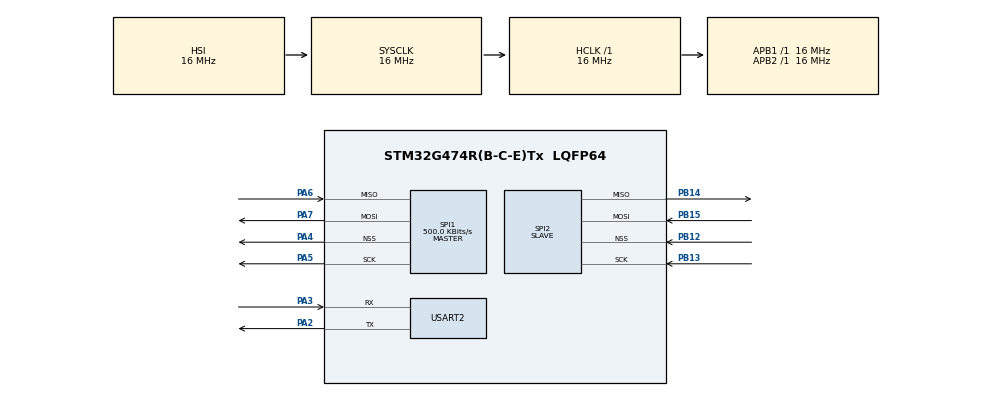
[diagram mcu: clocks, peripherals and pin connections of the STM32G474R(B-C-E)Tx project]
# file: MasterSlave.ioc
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Mcu.Family=STM32G4
Mcu.Name=STM32G474R(B-C-E)Tx
Mcu.Package=LQFP64
NVIC.PriorityGroup=NVIC_PRIORITYGROUP_4
NVIC.SPI1_IRQn=true\:2\:0\:true\:false\:true\:true\:true\:true
NVIC.SPI2_IRQn=true\:0\:0\:true\:false\:true\:true\:true\:true
NVIC.USART2_IRQn=true\:0\:0\:true\:false\:true\:true\:true\:true
PA2.Mode=Asynchronous
PA2.Signal=USART2_TX
PA3.Mode=Asynchronous
PA3.Signal=USART2_RX
PA4.Mode=NSS_Signal_Hard_Output
PA4.Signal=SPI1_NSS
PA5.Mode=Full_Duplex_Master
PA5.Signal=SPI1_SCK
PA6.Mode=Full_Duplex_Master
PA6.Signal=SPI1_MISO
PA7.Mode=Full_Duplex_Master
PA7.Signal=SPI1_MOSI
PB12.Mode=NSS_Signal_Hard_Input
PB12.Signal=SPI2_NSS
PB13.Mode=Full_Duplex_Slave
PB13.Signal=SPI2_SCK
PB14.Mode=Full_Duplex_Slave
PB14.Signal=SPI2_MISO
PB15.Mode=Full_Duplex_Slave
PB15.Signal=SPI2_MOSI
ProjectManager.HeapSize=0x200
ProjectManager.StackSize=0x400
ProjectManager.TargetToolchain=STM32CubeIDE
RCC.AHBFreq_Value=16000000
RCC.APB1Freq_Value=16000000
RCC.APB1TimFreq_Value=16000000
RCC.APB2Freq_Value=16000000
RCC.APB2TimFreq_Value=16000000
RCC.CortexFreq_Value=16000000
RCC.EXTERNAL_CLOCK_VALUE=12288000
RCC.HCLKFreq_Value=16000000
RCC.HSE_VALUE=8000000
RCC.HSI48_VALUE=48000000
RCC.HSI_VALUE=16000000
RCC.LSE_VALUE=32768
RCC.SYSCLKFreq_VALUE=16000000
RCC.USBFreq_Value=64000000
RCC.VCOOutputFreq_Value=128000000
SPI1.BaudRatePrescaler=SPI_BAUDRATEPRESCALER_32
SPI1.CalculateBaudRate=500.0 KBits/s
SPI1.DataSize=SPI_DATASIZE_8BIT
SPI1.Direction=SPI_DIRECTION_2LINES
SPI1.Mode=SPI_MODE_MASTER
SPI1.VirtualNSS=VM_NSSHARD
SPI1.VirtualType=VM_MASTER
SPI2.DataSize=SPI_DATASIZE_8BIT
SPI2.Direction=SPI_DIRECTION_2LINES
SPI2.Mode=SPI_MODE_SLAVE
SPI2.VirtualNSS=VM_NSSHARD
SPI2.VirtualType=VM_SLAVE
USART2.VirtualMode-Asynchronous=VM_ASYNC
VP_SYS_VS_DBSignals.Mode=DisableDeadBatterySignals
board=custom

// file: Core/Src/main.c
/* USER CODE BEGIN Header */
/**
  ******************************************************************************
  * @file           : main.c
  * @brief          : Main program body
  ******************************************************************************
  * @attention
  *
  * Copyright (c) 2025 STMicroelectronics.
  * All rights reserved.
  *
  ******************************************************************************
  */
/* USER CODE END Header */
#include "main.h"

/* USER CODE BEGIN Includes */
#include <string.h>   // strlen fonksiyonu için gerekli
/* USER CODE END Includes */

SPI_HandleTypeDef hspi1;
SPI_HandleTypeDef hspi2;

UART_HandleTypeDef huart2;

/* USER CODE BEGIN PV */
char mesaj[] = "merhaba\r\n";  // herhangi bir şey olabilir \n alt satıra atlatıyor !
uint8_t spi_rx_data;
uint8_t received_char = 0;
uint8_t bit_count = 0;
char rx_string[64];
uint8_t char_count = 0;

uint8_t spi_tx_ok = 1;
/* USER CODE END PV */

void SystemClock_Config(void);
static void MX_GPIO_Init(void);
static void MX_SPI1_Init(void);
static void MX_SPI2_Init(void);
static void MX_USART2_UART_Init(void);

/* USER CODE BEGIN 0 */
void send_char_bit_by_bit(char ch)
{
    for (int i = 7; i >= 0; i--)
    {
        uint8_t bit = (ch >> i) & 0x01; // her biti tek başına ayıklama işlemi
        HAL_SPI_Transmit(&hspi1, &bit, 1, 10);
        HAL_Delay(1); // bit gönderiminde 1 ms bekle
    }
}

void send_string_bit_by_bit(char* str)
{
    for (uint16_t i = 0; i < strlen(str); i++)
        send_char_bit_by_bit(str[i]);
}

// SLAVE BIT AL VE KARAKTERE ÇEVİR
void HAL_SPI_RxCpltCallback(SPI_HandleTypeDef *hspi)
{
    if (hspi->Instance == SPI2)
    {
//        received_char = (received_char << 1) | (spi_rx_array[0] & 0x01);
//        bit_count++;
//
//        if(bit_count == 8)
//        {
//        	   rx_string[char_count++] = received_char;
//
//        	   if (received_char == '\n' || char_count >= sizeof(rx_string)-1)
//            {
//                rx_string[char_count] = '\0';
//                HAL_UART_Transmit(&huart2, (uint8_t*)rx_string, char_count, 100);
//                HAL_UART_Transmit(&huart2, (uint8_t*)"\r", 2, 100);
//                char_count = 0;
//            }
//        	   received_char = 0;
//        	   bit_count = 0;
//        }
        // Her bit için tekrar
    	HAL_UART_Transmit(&huart2, &spi_rx_data, 1,10);
        HAL_SPI_Receive_IT(&hspi2, &spi_rx_data, 1);
    }
}

void HAL_SPI_TxCpltCallback(SPI_HandleTypeDef *hspi)
{
    if (hspi->Instance == SPI1)
    {
    	spi_tx_ok = 1;
    }
}
/* USER CODE END 0 */

int main(void)
{

  /* MCU Configuration--------------------------------------------------------*/

  /* Reset of all peripherals, Initializes the Flash interface and the Systick. */
  HAL_Init();

  /* Configure the system clock */
  SystemClock_Config();

  /* Initialize all configured peripherals */
  MX_GPIO_Init();
  MX_SPI1_Init();
  MX_SPI2_Init();
  MX_USART2_UART_Init();
  /* USER CODE BEGIN 2 */

  HAL_SPI_Receive_IT(&hspi2, &spi_rx_data, 1);

  /* USER CODE END 2 */

  /* Infinite loop */
  /* USER CODE BEGIN WHILE */
  while(1)
      {
	  // Her yarım saniyede bir mesajı bas
	  if(spi_tx_ok){
		  spi_tx_ok = 0;
		  HAL_SPI_Transmit_IT(&hspi1, mesaj, strlen(mesaj));
		  HAL_Delay(500);
	  }

      }
    /* USER CODE END WHILE */

}

void SystemClock_Config(void)
{
  RCC_OscInitTypeDef RCC_OscInitStruct = {0};
  RCC_ClkInitTypeDef RCC_ClkInitStruct = {0};

  /** Configure the main internal regulator output voltage
  */
  HAL_PWREx_ControlVoltageScaling(PWR_REGULATOR_VOLTAGE_SCALE1);

  /** Initializes the RCC Oscillators according to the specified parameters
  * in the RCC_OscInitTypeDef structure.
  */
  RCC_OscInitStruct.OscillatorType = RCC_OSCILLATORTYPE_HSI;
  RCC_OscInitStruct.HSIState = RCC_HSI_ON;
  RCC_OscInitStruct.HSICalibrationValue = RCC_HSICALIBRATION_DEFAULT;
  RCC_OscInitStruct.PLL.PLLState = RCC_PLL_NONE;
  if (HAL_RCC_OscConfig(&RCC_OscInitStruct) != HAL_OK)
  {
    Error_Handler();
  }

  /** Initializes the CPU, AHB and APB buses clocks
  */
  RCC_ClkInitStruct.ClockType = RCC_CLOCKTYPE_HCLK|RCC_CLOCKTYPE_SYSCLK
                              |RCC_CLOCKTYPE_PCLK1|RCC_CLOCKTYPE_PCLK2;
  RCC_ClkInitStruct.SYSCLKSource = RCC_SYSCLKSOURCE_HSI;
  RCC_ClkInitStruct.AHBCLKDivider = RCC_SYSCLK_DIV1;
  RCC_ClkInitStruct.APB1CLKDivider = RCC_HCLK_DIV1;
  RCC_ClkInitStruct.APB2CLKDivider = RCC_HCLK_DIV1;

  if (HAL_RCC_ClockConfig(&RCC_ClkInitStruct, FLASH_LATENCY_0) != HAL_OK)
  {
    Error_Handler();
  }
}

static void MX_SPI1_Init(void)
{

  /* SPI1 parameter configuration*/
  hspi1.Instance = SPI1;
  hspi1.Init.Mode = SPI_MODE_MASTER;
  hspi1.Init.Direction = SPI_DIRECTION_2LINES;
  hspi1.Init.DataSize = SPI_DATASIZE_8BIT;
  hspi1.Init.CLKPolarity = SPI_POLARITY_LOW;
  hspi1.Init.CLKPhase = SPI_PHASE_1EDGE;
  hspi1.Init.NSS = SPI_NSS_HARD_OUTPUT;
  hspi1.Init.BaudRatePrescaler = SPI_BAUDRATEPRESCALER_32;
  hspi1.Init.FirstBit = SPI_FIRSTBIT_MSB;
  hspi1.Init.TIMode = SPI_TIMODE_DISABLE;
  hspi1.Init.CRCCalculation = SPI_CRCCALCULATION_DISABLE;
  hspi1.Init.CRCPolynomial = 7;
  hspi1.Init.CRCLength = SPI_CRC_LENGTH_DATASIZE;
  hspi1.Init.NSSPMode = SPI_NSS_PULSE_ENABLE;
  if (HAL_SPI_Init(&hspi1) != HAL_OK)
  {
    Error_Handler();
  }

}

static void MX_SPI2_Init(void)
{

  /* SPI2 parameter configuration*/
  hspi2.Instance = SPI2;
  hspi2.Init.Mode = SPI_MODE_SLAVE;
  hspi2.Init.Direction = SPI_DIRECTION_2LINES;
  hspi2.Init.DataSize = SPI_DATASIZE_8BIT;
  hspi2.Init.CLKPolarity = SPI_POLARITY_LOW;
  hspi2.Init.CLKPhase = SPI_PHASE_1EDGE;
  hspi2.Init.NSS = SPI_NSS_HARD_INPUT;
  hspi2.Init.FirstBit = SPI_FIRSTBIT_MSB;
  hspi2.Init.TIMode = SPI_TIMODE_DISABLE;
  hspi2.Init.CRCCalculation = SPI_CRCCALCULATION_DISABLE;
  hspi2.Init.CRCPolynomial = 7;
  hspi2.Init.CRCLength = SPI_CRC_LENGTH_DATASIZE;
  hspi2.Init.NSSPMode = SPI_NSS_PULSE_DISABLE;
  if (HAL_SPI_Init(&hspi2) != HAL_OK)
  {
    Error_Handler();
  }
  /* USER CODE BEGIN SPI2_Init 2 */
  HAL_NVIC_SetPriority(SPI2_IRQn, 1, 0);
  HAL_NVIC_EnableIRQ(SPI2_IRQn);
  /* USER CODE END SPI2_Init 2 */

}

static void MX_USART2_UART_Init(void)
{

  huart2.Instance = USART2;
  huart2.Init.BaudRate = 115200;
  huart2.Init.WordLength = UART_WORDLENGTH_8B;
  huart2.Init.StopBits = UART_STOPBITS_1;
  huart2.Init.Parity = UART_PARITY_NONE;
  huart2.Init.Mode = UART_MODE_TX_RX;
  huart2.Init.HwFlowCtl = UART_HWCONTROL_NONE;
  huart2.Init.OverSampling = UART_OVERSAMPLING_16;
  huart2.Init.OneBitSampling = UART_ONE_BIT_SAMPLE_DISABLE;
  huart2.Init.ClockPrescaler = UART_PRESCALER_DIV1;
  huart2.AdvancedInit.AdvFeatureInit = UART_ADVFEATURE_NO_INIT;
  if (HAL_UART_Init(&huart2) != HAL_OK)
  {
    Error_Handler();
  }
  if (HAL_UARTEx_SetTxFifoThreshold(&huart2, UART_TXFIFO_THRESHOLD_1_8) != HAL_OK)
  {
    Error_Handler();
  }
  if (HAL_UARTEx_SetRxFifoThreshold(&huart2, UART_RXFIFO_THRESHOLD_1_8) != HAL_OK)
  {
    Error_Handler();
  }
  if (HAL_UARTEx_DisableFifoMode(&huart2) != HAL_OK)
  {
    Error_Handler();
  }

}

static void MX_GPIO_Init(void)
{

  /* GPIO Ports Clock Enable */
  __HAL_RCC_GPIOA_CLK_ENABLE();
  __HAL_RCC_GPIOB_CLK_ENABLE();

}

void Error_Handler(void)
{
  __disable_irq();
  while (1)
  {
  }
}
